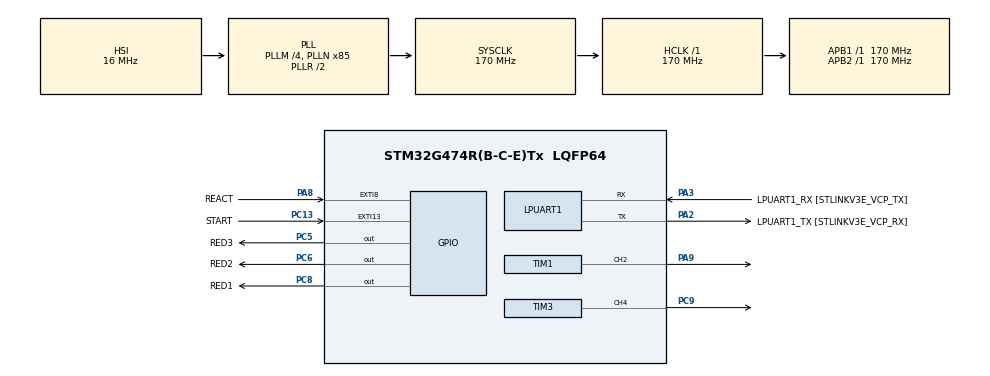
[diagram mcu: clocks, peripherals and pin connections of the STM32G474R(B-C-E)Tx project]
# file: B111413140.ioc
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Mcu.Family=STM32G4
Mcu.Name=STM32G474R(B-C-E)Tx
Mcu.Package=LQFP64
NVIC.EXTI15_10_IRQn=true\:0\:0\:false\:false\:true\:true\:true\:true
NVIC.EXTI9_5_IRQn=true\:0\:0\:false\:false\:true\:true\:true\:true
NVIC.PriorityGroup=NVIC_PRIORITYGROUP_4
PA13.GPIO_Label=T_SWDIO
PA13.Signal=SYS_JTMS-SWDIO
PA14.GPIO_Label=T_SWCLK
PA14.Signal=SYS_JTCK-SWCLK
PA2.GPIO_Label=LPUART1_TX [STLINKV3E_VCP_RX]
PA2.Mode=Asynchronous
PA2.Signal=LPUART1_TX
PA3.GPIO_Label=LPUART1_RX [STLINKV3E_VCP_TX]
PA3.Mode=Asynchronous
PA3.Signal=LPUART1_RX
PA8.GPIO_Label=REACT
PA8.GPIO_ModeDefaultEXTI=GPIO_MODE_IT_FALLING
PA8.GPIO_PuPd=GPIO_PULLUP
PA8.Signal=GPXTI8
PA9.Signal=S_TIM1_CH2
PB3.GPIO_Label=T_SWO
PB3.Signal=SYS_JTDO-SWO
PC13.GPIO_Label=START
PC13.Signal=GPXTI13
PC14-OSC32_IN.GPIO_Label=RCC_OSC32_IN
PC14-OSC32_IN.Signal=RCC_OSC32_IN
PC15-OSC32_OUT.GPIO_Label=RCC_OSC32_OUT
PC15-OSC32_OUT.Signal=RCC_OSC32_OUT
PC5.GPIO_Label=RED3
PC5.Signal=GPIO_Output
PC6.GPIO_Label=RED2
PC6.Signal=GPIO_Output
PC8.GPIO_Label=RED1
PC8.Signal=GPIO_Output
PC9.Signal=S_TIM3_CH4
PF0-OSC_IN.GPIO_Label=RCC_OSC_IN
PF0-OSC_IN.Signal=RCC_OSC_IN
PF1-OSC_OUT.GPIO_Label=RCC_OSC_OUT
PF1-OSC_OUT.Signal=RCC_OSC_OUT
ProjectManager.HeapSize=0x200
ProjectManager.StackSize=0x400
ProjectManager.TargetToolchain=STM32CubeIDE
RCC.ADC12Freq_Value=170000000
RCC.ADC345Freq_Value=170000000
RCC.AHBFreq_Value=170000000
RCC.APB1Freq_Value=170000000
RCC.APB1TimFreq_Value=170000000
RCC.APB2Freq_Value=170000000
RCC.APB2TimFreq_Value=170000000
RCC.CortexFreq_Value=170000000
RCC.EXTERNAL_CLOCK_VALUE=12288000
RCC.HCLKFreq_Value=170000000
RCC.HSE_VALUE=24000000
RCC.HSI48_VALUE=48000000
RCC.HSI_VALUE=16000000
RCC.LSE_VALUE=32768
RCC.PLLM=RCC_PLLM_DIV4
RCC.PLLN=85
RCC.RTCClockSelection=RCC_RTCCLKSOURCE_LSE
RCC.SYSCLKFreq_VALUE=170000000
RCC.SYSCLKSource=RCC_SYSCLKSOURCE_PLLCLK
RCC.USBFreq_Value=170000000
RCC.VCOOutputFreq_Value=340000000
SH.S_TIM1_CH2.0=TIM1_CH2,PWM Generation2 CH2
SH.S_TIM3_CH4.0=TIM3_CH4,PWM Generation4 CH4
TIM1.Channel-PWM\ Generation2\ CH2=TIM_CHANNEL_2
TIM1.Prescaler=16999
TIM3.Channel-PWM\ Generation4\ CH4=TIM_CHANNEL_4
TIM3.PeriodNoDither=4999
TIM3.Prescaler=16999
VP_SYS_VS_DBSignals.Mode=DisableDeadBatterySignals
VP_TIM1_VS_ClockSourceINT.Mode=Internal
VP_TIM3_VS_ClockSourceINT.Mode=Internal
board=NUCLEO-G474RE

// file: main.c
/* USER CODE BEGIN Header */
/**
  ******************************************************************************
  * @file           : main.c
  * @brief          : Main program body
  ******************************************************************************
  * @attention
  *
  * Copyright (c) 2026 STMicroelectronics.
  * All rights reserved.
  *
  * This software is licensed under terms that can be found in the LICENSE file
  * in the root directory of this software component.
  * If no LICENSE file comes with this software, it is provided AS-IS.
  *
  ******************************************************************************
  */
/* USER CODE END Header */
#include "main.h"

UART_HandleTypeDef hlpuart1;

TIM_HandleTypeDef htim1;
TIM_HandleTypeDef htim3;

void SystemClock_Config(void);
static void MX_GPIO_Init(void);
static void MX_LPUART1_UART_Init(void);
static void MX_TIM1_Init(void);
static void MX_TIM3_Init(void);

/* USER CODE BEGIN 0 */

/* =========================================
   F1 REACTION TEST - NUCLEO-G474RE

   RED1   PC8   GPIO
   RED2   PC6   GPIO
   RED3   PC5   GPIO
   GREEN  PC9   TIM3_CH4 PWM
   YELLOW PA9   TIM1_CH2 PWM
   START  PC13  EXTI Rising
   REACT  PA8   EXTI Falling
   ========================================= */

/* ===== Time Settings ===== */

#define RED_INTERVAL_MS   500U
#define REACTION_LIMIT    2000U
#define DEBOUNCE_MS       30U
#define TARGET_COUNT      5U
#define PWM_DUTY          2500U

/* ===== State Definitions ===== */

typedef enum
{
    F1_IDLE,
    F1_RED1,
    F1_RED2,
    F1_WAIT_GO,
    F1_REACTION,
    F1_RESULT,
    F1_FINISHED

} F1_State;

static F1_State f1State = F1_IDLE;

/* ===== Time Variables ===== */

static uint32_t stateTime = 0;
static uint32_t goTime = 0;
static uint32_t randomDelay = 0;
static uint32_t randomSeed = 1234567U;

/* ===== Interrupt Variables ===== */

static volatile uint8_t startPending = 0;
static volatile uint8_t reactPending = 0;

static volatile uint32_t startPressTime = 0;
static volatile uint32_t reactPressTime = 0;

static volatile uint32_t lastStartIRQ = 0;
static volatile uint32_t lastReactIRQ = 0;

/* ===== Result Variables ===== */

volatile uint32_t reactionResults[5] = {0};

volatile uint32_t reactionTime = 0;
volatile uint32_t averageTime_x10 = 0;

volatile uint8_t validCount = 0;
volatile uint8_t testFinished = 0;

volatile uint8_t falseStart = 0;
volatile uint8_t timeoutFlag = 0;

/* ===== Turn Off Red LEDs ===== */

static void RedOff(void)
{
    HAL_GPIO_WritePin(
        GPIOC,
        GPIO_PIN_8 | GPIO_PIN_6 | GPIO_PIN_5,
        GPIO_PIN_RESET
    );
}

/* ===== Turn Off PWM LEDs ===== */

static void StatusOff(void)
{
    // Green LED OFF
    __HAL_TIM_SET_COMPARE(
        &htim3, TIM_CHANNEL_4, 0
    );

    // Yellow LED OFF
    __HAL_TIM_SET_COMPARE(
        &htim1, TIM_CHANNEL_2, 0
    );
}

/* ===== PWM Result Display ===== */

static void StatusPWM(uint8_t success)
{
    StatusOff();

    // Reset timer counters
    __HAL_TIM_SET_COUNTER(&htim3, 0);
    __HAL_TIM_SET_COUNTER(&htim1, 0);

    if (success == 1)
    {
        // Green LED blinking
        __HAL_TIM_SET_COMPARE(
            &htim3,
            TIM_CHANNEL_4,
            PWM_DUTY
        );
    }
    else
    {
        // Yellow LED blinking
        __HAL_TIM_SET_COMPARE(
            &htim1,
            TIM_CHANNEL_2,
            PWM_DUTY
        );
    }
}

/* ===== Start Race ===== */
static void UART_SendText(const char *text);
static void StartRace(void)
{
    uint32_t now = HAL_GetTick();

    RedOff();
    StatusOff();

    // Random delay 1000~3000 ms
    randomSeed ^= now;

    randomSeed =
        randomSeed * 1664525U + 1013904223U;

    randomDelay =
        1000U + (randomSeed % 2001U);

    // Reset current attempt
    reactionTime = 0;
    falseStart = 0;
    timeoutFlag = 0;

    // First red LED ON
    HAL_GPIO_WritePin(
        GPIOC, GPIO_PIN_8, GPIO_PIN_SET
    );

    stateTime = now;
    f1State = F1_RED1;

    UART_SendText("\r\nRace started...\r\n");
    // 告訴電腦新的一回合已開始
}

/* ===== Show Result ===== */

static void ShowResult(uint8_t success)
{
    RedOff();

    StatusPWM(success);

    if (testFinished == 1)
    {
        f1State = F1_FINISHED;
    }
    else
    {
        f1State = F1_RESULT;
    }
}

/* ========== UART 傳送文字 ========== */

static void UART_SendText(const char *text)
{
    uint16_t length = 0;  // 記錄字串長度

    while (text[length] != '\0')
    {
        length++;  // 計算字串長度
    }

    HAL_UART_Transmit(
        &hlpuart1,       // LPUART1控制結構
        (uint8_t *)text, // 要傳送的字串
        length,          // 字串長度
        HAL_MAX_DELAY    // 等待傳送完成
    );
}

/* ========== UART 傳送整數 ========== */

static void UART_SendNumber(uint32_t number)
{
    char buffer[11];  // 最多10位數加結束字元
    uint8_t i = 0;
    uint8_t j = 0;

    if (number == 0)
    {
        UART_SendText("0");
        return;
    }

    while (number > 0)
    {
        buffer[i++] = (number % 10U) + '0';
        number /= 10U;
        // 將數字轉成字元，順序先反向儲存
    }

    // 將字元順序反轉
    for (j = 0; j < i / 2; j++)
    {
        char temp = buffer[j];
        buffer[j] = buffer[i - 1 - j];
        buffer[i - 1 - j] = temp;
    }

    buffer[i] = '\0';  // 加入字串結束字元

    UART_SendText(buffer);  // 傳送整數字串
}

/* ========== UART 傳送反應秒數 ========== */

static void UART_SendSeconds(uint32_t ms)
{
    uint32_t sec = ms / 1000U; // 整數秒
    uint32_t frac = ms % 1000U; // 小數毫秒

    UART_SendNumber(sec);
    UART_SendText(".");

    // 補足三位小數
    if (frac < 100U)
        UART_SendText("0");

    if (frac < 10U)
        UART_SendText("0");

    UART_SendNumber(frac);
    UART_SendText(" s");
}

/* ========== 顯示五次有效成績與平均 ========== */

static void UART_SendFinalResult(void)
{
    UART_SendText(
        "\r\n===== FINAL RESULT =====\r\n"
    );

    for (uint8_t i = 0; i < TARGET_COUNT; i++)
    {
        UART_SendText("Test ");
        UART_SendNumber(i + 1U);
        UART_SendText(": ");

        UART_SendNumber(reactionResults[i]);
        UART_SendText(" ms\r\n");
        // 依序列印五次有效成績
    }

    UART_SendText("Average: ");

    // 平均值以0.1ms為單位
    UART_SendNumber(averageTime_x10 / 10U);
    UART_SendText(".");
    UART_SendNumber(averageTime_x10 % 10U);

    UART_SendText(" ms\r\n");

    UART_SendText(
        "========================\r\n"
    );
}

/* ===== False Start ===== */

static void FalseStart(void)
{
    falseStart = 1;    // 設定搶跑旗標
    reactionTime = 0;  // 搶跑不計入有效成績

    UART_SendText(
        "FALSE START! Not recorded.\r\n"
    ); // 傳送搶跑訊息到電腦

    ShowResult(0);  // 黃燈PWM閃爍
}

/* ===== Reaction Timeout ===== */

static void ReactionTimeout(void)
{
    timeoutFlag = 1; // 設定超時旗標

    UART_SendText(
        "TIMEOUT! Over 2000 ms.\r\n"
    ); // 傳送超時訊息到電腦

    ShowResult(0); // 黃燈PWM閃爍
}

/* ===== Save Reaction Time ===== */

static void SaveReaction(uint32_t elapsed)
{
    reactionTime = elapsed;
    // 記錄本次反應時間，單位為ms

    if (elapsed > REACTION_LIMIT)
    {
        ReactionTimeout();
        // 超過2000ms，判定失敗

        return;
    }

    if (validCount >= TARGET_COUNT)
    {
        return;
        // 已記錄5次有效成績，不再儲存
    }

    reactionResults[validCount] = elapsed;
    // 將本次反應時間寫入陣列

    validCount++;
    // 有效次數加1

    /* ===== 透過UART傳送本次成績 ===== */

    UART_SendText("Test ");

    UART_SendNumber(validCount);
    // 傳送目前第幾次測試

    UART_SendText("/5: ");

    UART_SendSeconds(elapsed);
    // 將毫秒轉換成秒數傳送

    UART_SendText(" (");

    UART_SendNumber(elapsed);
    // 傳送原始毫秒數

    UART_SendText(" ms)\r\n");

    /* ===== 計算五次平均成績 ===== */

    if (validCount == TARGET_COUNT)
    {
        uint32_t total = 0;

        for (uint8_t i = 0;
             i < TARGET_COUNT;
             i++)
        {
            total += reactionResults[i];
            // 將五次成績加總
        }

        averageTime_x10 =
            (total * 10U) / TARGET_COUNT;
        // 計算平均值，保留一位小數

        testFinished = 1;
        // 設定測試完成旗標

        UART_SendFinalResult();
        // 將五次成績及平均值傳送到電腦
    }

    ShowResult(1);
    // 有效反應，綠燈PWM閃爍
}

/* =========================================
   GPIO EXTI Interrupt Callback
   ========================================= */

void HAL_GPIO_EXTI_Callback(uint16_t GPIO_Pin)
{
    uint32_t now = HAL_GetTick();

    // START BUTTON PC13
    if (GPIO_Pin == GPIO_PIN_13)
    {
        if ((uint32_t)(now - lastStartIRQ)
            >= DEBOUNCE_MS)
        {
            lastStartIRQ = now;

            if (startPending == 0)
            {
                startPressTime = now;
                startPending = 1;
            }
        }
    }

    // REACTION BUTTON PA8
    else if (GPIO_Pin == GPIO_PIN_8)
    {
        if ((uint32_t)(now - lastReactIRQ)
            >= DEBOUNCE_MS)
        {
            lastReactIRQ = now;

            if (reactPending == 0)
            {
                reactPressTime = now;
                reactPending = 1;
            }
        }
    }
}

/* =========================================
   F1 System Initialization
   ========================================= */

void F1_Init(void)
{
    // Start Green PWM
    HAL_TIM_PWM_Start(
        &htim3, TIM_CHANNEL_4
    );

    // Start Yellow PWM
    HAL_TIM_PWM_Start(
        &htim1, TIM_CHANNEL_2
    );

    RedOff();
    StatusOff();

    uint32_t now = HAL_GetTick();

    lastStartIRQ = now - DEBOUNCE_MS;
    lastReactIRQ = now - DEBOUNCE_MS;

    startPending = 0;
    reactPending = 0;

    validCount = 0;
    testFinished = 0;

    f1State = F1_IDLE;

    UART_SendText(
        "\r\n===== F1 REACTION TEST =====\r\n"
    );

    UART_SendText("System Ready!\r\n");
    UART_SendText("Press START to begin.\r\n");
}

/* =========================================
   F1 Main Program
   ========================================= */

void F1_Update(void)
{
    uint32_t now = HAL_GetTick();

    uint8_t startEvent;
    uint8_t reactEvent;

    uint32_t startTime;
    uint32_t pressTime;

    // Atomically read interrupt events
    uint32_t irqState = __get_PRIMASK();

    __disable_irq();

    startEvent = startPending;
    reactEvent = reactPending;

    startTime = startPressTime;
    pressTime = reactPressTime;

    startPending = 0;
    reactPending = 0;

    __set_PRIMASK(irqState);

    /* ===== START BUTTON ===== */

    if (startEvent)
    {
        if (f1State == F1_IDLE ||
            f1State == F1_RESULT)
        {
            StartRace();
        }
        else if (f1State == F1_FINISHED)
        {
            // Clear five results
            validCount = 0;
            testFinished = 0;
            averageTime_x10 = 0;

            for (uint8_t i = 0;
                 i < TARGET_COUNT;
                 i++)
            {
                reactionResults[i] = 0;
            }

            StartRace();
        }
    }

    /* ===== REACTION BUTTON ===== */

    if (reactEvent)
    {
        if (f1State == F1_RED1 ||
            f1State == F1_RED2 ||
            f1State == F1_WAIT_GO)
        {
            // Ignore an event before this round
            if ((int32_t)(pressTime - stateTime)
                >= 0)
            {
                FalseStart();
            }
        }
        else if (f1State == F1_REACTION)
        {
            // Check if button was pressed early
            if ((int32_t)(pressTime - goTime) < 0)
            {
                FalseStart();
            }
            else
            {
                uint32_t elapsed =
                    pressTime - goTime;

                SaveReaction(elapsed);
            }
        }
    }

    /* ===== F1 STATE MACHINE ===== */

    switch (f1State)
    {
        case F1_IDLE:
            // Waiting for start button
            break;

        /* First Red LED */
        case F1_RED1:

            if ((uint32_t)(now - stateTime)
                >= RED_INTERVAL_MS)
            {
                // Turn on second red LED
                HAL_GPIO_WritePin(
                    GPIOC,
                    GPIO_PIN_6,
                    GPIO_PIN_SET
                );

                stateTime = now;
                f1State = F1_RED2;
            }
            break;

        /* Second Red LED */
        case F1_RED2:

            if ((uint32_t)(now - stateTime)
                >= RED_INTERVAL_MS)
            {
                // Turn on third red LED
                HAL_GPIO_WritePin(
                    GPIOC,
                    GPIO_PIN_5,
                    GPIO_PIN_SET
                );

                stateTime = now;
                f1State = F1_WAIT_GO;
            }
            break;

        /* All Red LEDs ON */
        case F1_WAIT_GO:

            if ((uint32_t)(now - stateTime)
                >= randomDelay)
            {
                RedOff();
                // 三顆紅燈同時熄滅

                goTime = HAL_GetTick();
                // 記錄熄燈時間，開始計時

                f1State = F1_REACTION;
                // 進入反應計時狀態

                UART_SendText("LIGHTS OUT!\r\n");
                // 傳送起跑訊息到電腦
            }
            break;

        /* Measure Reaction Time */
        case F1_REACTION:

            /*
             * Allow time for a pending EXTI
             * event to be handled.
             */
            if ((uint32_t)(now - goTime)
                > REACTION_LIMIT
                  + DEBOUNCE_MS + 5U)
            {
                reactionTime = now - goTime;

                ReactionTimeout();
            }
            break;

        /* Display Result */
        case F1_RESULT:

            // PWM handles LED blinking
            break;

        /* Five Valid Scores Completed */
        case F1_FINISHED:

            // Wait for START to reset scores
            break;

        default:
            break;
    }

    (void)startTime;
}

/* USER CODE END 0 */

int main(void)
{

  /* MCU Configuration--------------------------------------------------------*/

  /* Reset of all peripherals, Initializes the Flash interface and the Systick. */
  HAL_Init();

  /* Configure the system clock */
  SystemClock_Config();

  /* Initialize all configured peripherals */
  MX_GPIO_Init();
  MX_LPUART1_UART_Init();
  MX_TIM1_Init();
  MX_TIM3_Init();
  /* USER CODE BEGIN 2 */
  F1_Init();
  /* USER CODE END 2 */

  /* Infinite loop */
  while (1)
  {
	    F1_Update();
  }
}

void SystemClock_Config(void)
{
  RCC_OscInitTypeDef RCC_OscInitStruct = {0};
  RCC_ClkInitTypeDef RCC_ClkInitStruct = {0};

  /** Configure the main internal regulator output voltage
  */
  HAL_PWREx_ControlVoltageScaling(PWR_REGULATOR_VOLTAGE_SCALE1_BOOST);

  /** Initializes the RCC Oscillators according to the specified parameters
  * in the RCC_OscInitTypeDef structure.
  */
  RCC_OscInitStruct.OscillatorType = RCC_OSCILLATORTYPE_HSI;
  RCC_OscInitStruct.HSIState = RCC_HSI_ON;
  RCC_OscInitStruct.HSICalibrationValue = RCC_HSICALIBRATION_DEFAULT;
  RCC_OscInitStruct.PLL.PLLState = RCC_PLL_ON;
  RCC_OscInitStruct.PLL.PLLSource = RCC_PLLSOURCE_HSI;
  RCC_OscInitStruct.PLL.PLLM = RCC_PLLM_DIV4;
  RCC_OscInitStruct.PLL.PLLN = 85;
  RCC_OscInitStruct.PLL.PLLP = RCC_PLLP_DIV2;
  RCC_OscInitStruct.PLL.PLLQ = RCC_PLLQ_DIV2;
  RCC_OscInitStruct.PLL.PLLR = RCC_PLLR_DIV2;
  if (HAL_RCC_OscConfig(&RCC_OscInitStruct) != HAL_OK)
  {
    Error_Handler();
  }

  /** Initializes the CPU, AHB and APB buses clocks
  */
  RCC_ClkInitStruct.ClockType = RCC_CLOCKTYPE_HCLK|RCC_CLOCKTYPE_SYSCLK
                              |RCC_CLOCKTYPE_PCLK1|RCC_CLOCKTYPE_PCLK2;
  RCC_ClkInitStruct.SYSCLKSource = RCC_SYSCLKSOURCE_PLLCLK;
  RCC_ClkInitStruct.AHBCLKDivider = RCC_SYSCLK_DIV1;
  RCC_ClkInitStruct.APB1CLKDivider = RCC_HCLK_DIV1;
  RCC_ClkInitStruct.APB2CLKDivider = RCC_HCLK_DIV1;

  if (HAL_RCC_ClockConfig(&RCC_ClkInitStruct, FLASH_LATENCY_4) != HAL_OK)
  {
    Error_Handler();
  }
}

static void MX_LPUART1_UART_Init(void)
{

  hlpuart1.Instance = LPUART1;
  hlpuart1.Init.BaudRate = 115200;
  hlpuart1.Init.WordLength = UART_WORDLENGTH_8B;
  hlpuart1.Init.StopBits = UART_STOPBITS_1;
  hlpuart1.Init.Parity = UART_PARITY_NONE;
  hlpuart1.Init.Mode = UART_MODE_TX_RX;
  hlpuart1.Init.HwFlowCtl = UART_HWCONTROL_NONE;
  hlpuart1.Init.OneBitSampling = UART_ONE_BIT_SAMPLE_DISABLE;
  hlpuart1.Init.ClockPrescaler = UART_PRESCALER_DIV1;
  hlpuart1.AdvancedInit.AdvFeatureInit = UART_ADVFEATURE_NO_INIT;
  if (HAL_UART_Init(&hlpuart1) != HAL_OK)
  {
    Error_Handler();
  }
  if (HAL_UARTEx_SetTxFifoThreshold(&hlpuart1, UART_TXFIFO_THRESHOLD_1_8) != HAL_OK)
  {
    Error_Handler();
  }
  if (HAL_UARTEx_SetRxFifoThreshold(&hlpuart1, UART_RXFIFO_THRESHOLD_1_8) != HAL_OK)
  {
    Error_Handler();
  }
  if (HAL_UARTEx_DisableFifoMode(&hlpuart1) != HAL_OK)
  {
    Error_Handler();
  }

}

static void MX_TIM1_Init(void)
{

  TIM_ClockConfigTypeDef sClockSourceConfig = {0};
  TIM_MasterConfigTypeDef sMasterConfig = {0};
  TIM_OC_InitTypeDef sConfigOC = {0};
  TIM_BreakDeadTimeConfigTypeDef sBreakDeadTimeConfig = {0};

  htim1.Instance = TIM1;
  htim1.Init.Prescaler = 16999;
  htim1.Init.CounterMode = TIM_COUNTERMODE_UP;
  htim1.Init.Period = 4999;
  htim1.Init.ClockDivision = TIM_CLOCKDIVISION_DIV1;
  htim1.Init.RepetitionCounter = 0;
  htim1.Init.AutoReloadPreload = TIM_AUTORELOAD_PRELOAD_DISABLE;
  if (HAL_TIM_Base_Init(&htim1) != HAL_OK)
  {
    Error_Handler();
  }
  sClockSourceConfig.ClockSource = TIM_CLOCKSOURCE_INTERNAL;
  if (HAL_TIM_ConfigClockSource(&htim1, &sClockSourceConfig) != HAL_OK)
  {
    Error_Handler();
  }
  if (HAL_TIM_PWM_Init(&htim1) != HAL_OK)
  {
    Error_Handler();
  }
  sMasterConfig.MasterOutputTrigger = TIM_TRGO_RESET;
  sMasterConfig.MasterOutputTrigger2 = TIM_TRGO2_RESET;
  sMasterConfig.MasterSlaveMode = TIM_MASTERSLAVEMODE_DISABLE;
  if (HAL_TIMEx_MasterConfigSynchronization(&htim1, &sMasterConfig) != HAL_OK)
  {
    Error_Handler();
  }
  sConfigOC.OCMode = TIM_OCMODE_PWM1;
  sConfigOC.Pulse = 0;
  sConfigOC.OCPolarity = TIM_OCPOLARITY_HIGH;
  sConfigOC.OCNPolarity = TIM_OCNPOLARITY_HIGH;
  sConfigOC.OCFastMode = TIM_OCFAST_DISABLE;
  sConfigOC.OCIdleState = TIM_OCIDLESTATE_RESET;
  sConfigOC.OCNIdleState = TIM_OCNIDLESTATE_RESET;
  if (HAL_TIM_PWM_ConfigChannel(&htim1, &sConfigOC, TIM_CHANNEL_2) != HAL_OK)
  {
    Error_Handler();
  }
  sBreakDeadTimeConfig.OffStateRunMode = TIM_OSSR_DISABLE;
  sBreakDeadTimeConfig.OffStateIDLEMode = TIM_OSSI_DISABLE;
  sBreakDeadTimeConfig.LockLevel = TIM_LOCKLEVEL_OFF;
  sBreakDeadTimeConfig.DeadTime = 0;
  sBreakDeadTimeConfig.BreakState = TIM_BREAK_DISABLE;
  sBreakDeadTimeConfig.BreakPolarity = TIM_BREAKPOLARITY_HIGH;
  sBreakDeadTimeConfig.BreakFilter = 0;
  sBreakDeadTimeConfig.BreakAFMode = TIM_BREAK_AFMODE_INPUT;
  sBreakDeadTimeConfig.Break2State = TIM_BREAK2_DISABLE;
  sBreakDeadTimeConfig.Break2Polarity = TIM_BREAK2POLARITY_HIGH;
  sBreakDeadTimeConfig.Break2Filter = 0;
  sBreakDeadTimeConfig.Break2AFMode = TIM_BREAK_AFMODE_INPUT;
  sBreakDeadTimeConfig.AutomaticOutput = TIM_AUTOMATICOUTPUT_DISABLE;
  if (HAL_TIMEx_ConfigBreakDeadTime(&htim1, &sBreakDeadTimeConfig) != HAL_OK)
  {
    Error_Handler();
  }
  HAL_TIM_MspPostInit(&htim1);

}

static void MX_TIM3_Init(void)
{

  TIM_ClockConfigTypeDef sClockSourceConfig = {0};
  TIM_MasterConfigTypeDef sMasterConfig = {0};
  TIM_OC_InitTypeDef sConfigOC = {0};

  htim3.Instance = TIM3;
  htim3.Init.Prescaler = 16999;
  htim3.Init.CounterMode = TIM_COUNTERMODE_UP;
  htim3.Init.Period = 4999;
  htim3.Init.ClockDivision = TIM_CLOCKDIVISION_DIV1;
  htim3.Init.AutoReloadPreload = TIM_AUTORELOAD_PRELOAD_DISABLE;
  if (HAL_TIM_Base_Init(&htim3) != HAL_OK)
  {
    Error_Handler();
  }
  sClockSourceConfig.ClockSource = TIM_CLOCKSOURCE_INTERNAL;
  if (HAL_TIM_ConfigClockSource(&htim3, &sClockSourceConfig) != HAL_OK)
  {
    Error_Handler();
  }
  if (HAL_TIM_PWM_Init(&htim3) != HAL_OK)
  {
    Error_Handler();
  }
  sMasterConfig.MasterOutputTrigger = TIM_TRGO_RESET;
  sMasterConfig.MasterSlaveMode = TIM_MASTERSLAVEMODE_DISABLE;
  if (HAL_TIMEx_MasterConfigSynchronization(&htim3, &sMasterConfig) != HAL_OK)
  {
    Error_Handler();
  }
  sConfigOC.OCMode = TIM_OCMODE_PWM1;
  sConfigOC.Pulse = 0;
  sConfigOC.OCPolarity = TIM_OCPOLARITY_HIGH;
  sConfigOC.OCFastMode = TIM_OCFAST_DISABLE;
  if (HAL_TIM_PWM_ConfigChannel(&htim3, &sConfigOC, TIM_CHANNEL_4) != HAL_OK)
  {
    Error_Handler();
  }
  HAL_TIM_MspPostInit(&htim3);

}

static void MX_GPIO_Init(void)
{
  GPIO_InitTypeDef GPIO_InitStruct = {0};

  /* GPIO Ports Clock Enable */
  __HAL_RCC_GPIOC_CLK_ENABLE();
  __HAL_RCC_GPIOF_CLK_ENABLE();
  __HAL_RCC_GPIOA_CLK_ENABLE();
  __HAL_RCC_GPIOB_CLK_ENABLE();

  /*Configure GPIO pin Output Level */
  HAL_GPIO_WritePin(GPIOC, RED3_Pin|RED2_Pin|RED1_Pin, GPIO_PIN_RESET);

  /*Configure GPIO pin : START_Pin */
  GPIO_InitStruct.Pin = START_Pin;
  GPIO_InitStruct.Mode = GPIO_MODE_IT_RISING;
  GPIO_InitStruct.Pull = GPIO_NOPULL;
  HAL_GPIO_Init(START_GPIO_Port, &GPIO_InitStruct);

  /*Configure GPIO pins : RED3_Pin RED2_Pin RED1_Pin */
  GPIO_InitStruct.Pin = RED3_Pin|RED2_Pin|RED1_Pin;
  GPIO_InitStruct.Mode = GPIO_MODE_OUTPUT_PP;
  GPIO_InitStruct.Pull = GPIO_NOPULL;
  GPIO_InitStruct.Speed = GPIO_SPEED_FREQ_LOW;
  HAL_GPIO_Init(GPIOC, &GPIO_InitStruct);

  /*Configure GPIO pin : REACT_Pin */
  GPIO_InitStruct.Pin = REACT_Pin;
  GPIO_InitStruct.Mode = GPIO_MODE_IT_FALLING;
  GPIO_InitStruct.Pull = GPIO_PULLUP;
  HAL_GPIO_Init(REACT_GPIO_Port, &GPIO_InitStruct);

  /* EXTI interrupt init*/
  HAL_NVIC_SetPriority(EXTI9_5_IRQn, 0, 0);
  HAL_NVIC_EnableIRQ(EXTI9_5_IRQn);

  HAL_NVIC_SetPriority(EXTI15_10_IRQn, 0, 0);
  HAL_NVIC_EnableIRQ(EXTI15_10_IRQn);

}

void Error_Handler(void)
{
  __disable_irq();
  while (1)
  {
  }
}
